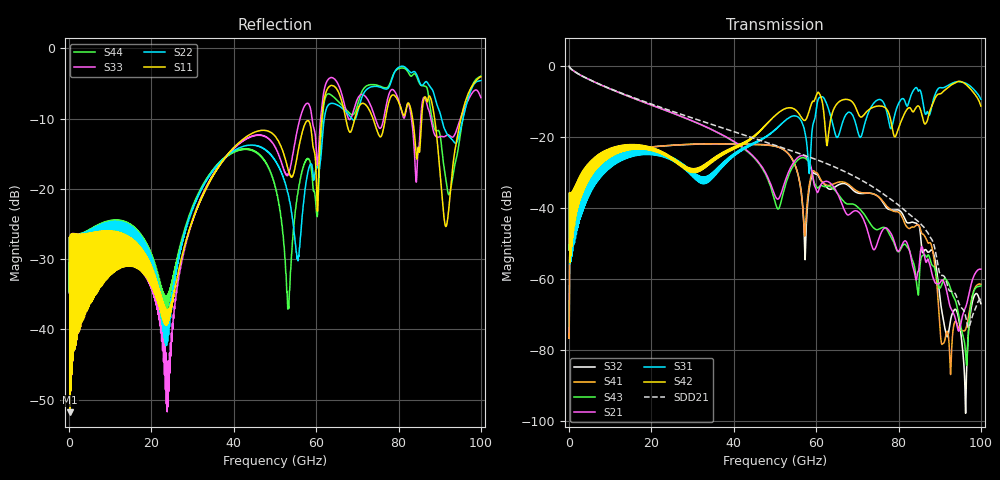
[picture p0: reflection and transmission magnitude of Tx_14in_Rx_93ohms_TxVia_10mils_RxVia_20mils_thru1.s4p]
! Info: Touchstone file created by Circ.  Input file=Tx_14in_Rx_93ohms_TxVia_10mils_RxVia_20mils.circ
# Hz S RI R 50
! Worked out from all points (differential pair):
!   10000 points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, 10 MHz to 100 GHz, reference 50 ohm
!   strongest paths, dB at 10 MHz, 25.01 GHz, 50.01 GHz, 75.01 GHz, 100 GHz:
!     S42: -52.0, -25.8, -14.1, -11.4, -11.4
!     S31: -52.0, -25.8, -18.0, -9.6, -9.5
!     S21: -0.2, -13.3, -36.6, -49.5, -57.4
!     S43: -0.2, -13.3, -38.3, -46.2, -62.1
!     S41: -75.6, -22.4, -22.7, -36.8, -61.6
!     S32: -75.6, -22.5, -22.7, -36.8, -67.1
!   taken as a pair (ports 1,3 in; 2,4 out), SDD21 dB: -0.2, -12.9, -22.4, -35.1, -65.8
!   lowest |S11| = -51.8 dB at 230 MHz (marker M1), VSWR 1.01, Z = 49.8 - j0.167 ohm
!   |S11| at or under -10 dB: start of sweep to 61.37 GHz; 73.82 GHz to 76.81 GHz (2.985 GHz wide, 3.96 % of centre); 88.77 GHz to 95.13 GHz (6.356 GHz wide, 6.91 % of centre) (the widest 3 of 5)
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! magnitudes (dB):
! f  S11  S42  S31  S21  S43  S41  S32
! 10 MHz  -34.6  -52.0  -52.0  -0.2  -0.2  -75.6  -75.6
! 230 MHz  -51.8  -48.6  -48.7  -0.6  -0.6  -51.2  -51.2
! 6.83 GHz  -26.2  -28.6  -31.7  -5.0  -5.0  -26.5  -26.6
! 23.84 GHz  -39.3  -25.0  -25.2  -12.8  -12.8  -22.5  -22.6
! 47.97 GHz  -11.7  -16.5  -20.0  -30.8  -31.2  -22.4  -22.3
! 90.75 GHz  -22.2  -7.4  -6.3  -60.5  -60.8  -78.3  -70.7
! 100 GHz  -4.0  -11.4  -9.5  -57.4  -62.1  -61.6  -67.1
